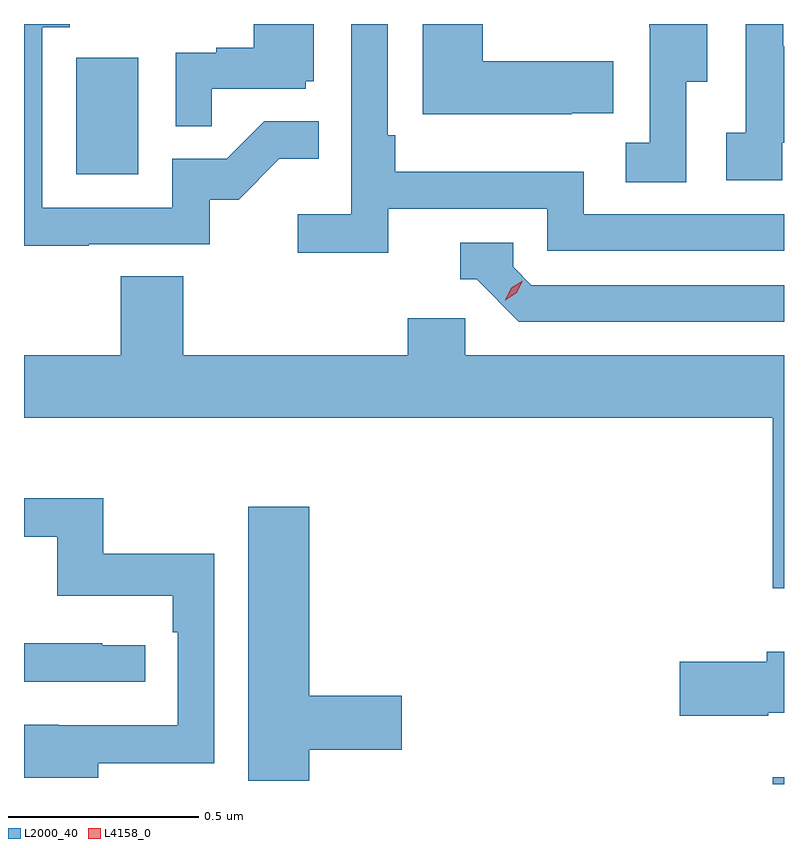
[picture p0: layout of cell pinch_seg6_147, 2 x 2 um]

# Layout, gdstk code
import gdstk
lib = gdstk.Library(unit=1e-6, precision=1e-09)
def R(c, l, rs):  # rectangles x0, y0, x1, y1
    for r in rs: c.add(gdstk.rectangle(r[:2], r[2:], *l))
def P(c, l, *ps):  # polygons
    for p in ps: c.add(gdstk.Polygon(p, *l))
L2000_40 = (2000, 40)
L4158_0 = (4158, 0)

pinch_seg6_147 = lib.new_cell('pinch_seg6_147')
R(pinch_seg6_147, L2000_40, [(976.122,921.064,976.151,921.082), (974.288,922.668,974.452,922.975)])
P(pinch_seg6_147, L2000_40, [(974.645,922.893),(974.892,922.893),(974.892,922.914),(974.914,922.914),(974.914,923.064),(974.756,923.064),(974.756,923.002),(974.657,923.002),(974.657,922.989),(974.55,922.989),(974.55,922.795),(974.645,922.795)],
  [(975.894,922.912),(975.949,922.912),(975.949,923.064),(975.797,923.064),(975.797,923.055),(975.798,923.055),(975.798,922.751),(975.735,922.751),(975.735,922.648),(975.894,922.648)],
  [(975.11,922.578),(975.528,922.578),(975.528,922.467),(976.151,922.467),(976.151,922.563),(975.624,922.563),(975.624,922.675),(975.128,922.675),(975.128,922.771),(975.108,922.771),(975.108,923.064),(975.012,923.064),(975.012,922.564),(974.871,922.564),(974.871,922.462),(975.11,922.462)],
  [(974.321,922.485),(974.64,922.485),(974.64,922.602),(974.716,922.602),(974.823,922.709),(974.927,922.709),(974.927,922.808),(974.783,922.808),(974.685,922.71),(974.541,922.71),(974.541,922.581),(974.199,922.581),(974.199,923.055),(974.272,923.055),(974.272,923.064),(974.151,923.064),(974.151,922.48),(974.321,922.48)],
  [(976.146,922.751),(976.151,922.751),(976.151,923.006),(976.149,923.006),(976.149,923.064),(976.05,923.064),(976.05,922.778),(975.999,922.778),(975.999,922.653),(976.146,922.653)],
  [(975.593,922.829),(975.701,922.829),(975.701,922.966),(975.358,922.966),(975.358,923.064),(975.2,923.064),(975.2,922.826),(975.593,922.826)],
  [(976.151,922.377),(975.486,922.377),(975.438,922.425),(975.438,922.488),(975.299,922.488),(975.299,922.392),(975.342,922.392),(975.453,922.281),(976.151,922.281)],
  [(976.151,922.192),(975.312,922.192),(975.312,922.29),(975.161,922.29),(975.161,922.192),(974.57,922.192),(974.57,922.4),(974.405,922.4),(974.405,922.192),(974.151,922.192),(974.151,922.028),(976.122,922.028),(976.122,921.579),(976.151,921.579)],
  [(974.347,921.118),(974.652,921.118),(974.652,921.67),(974.359,921.67),(974.359,921.816),(974.151,921.816),(974.151,921.715),(974.238,921.715),(974.238,921.56),(974.543,921.56),(974.543,921.464),(974.556,921.464),(974.556,921.219),(974.243,921.219),(974.243,921.22),(974.151,921.22),(974.151,921.08),(974.347,921.08)],
  [(974.902,921.154),(975.145,921.154),(975.145,921.296),(974.902,921.296),(974.902,921.793),(974.741,921.793),(974.741,921.072),(974.902,921.072)],
  [(974.47,921.429),(974.357,921.429),(974.357,921.434),(974.151,921.434),(974.151,921.333),(974.47,921.333)],
  [(976.11,921.251),(976.151,921.251),(976.151,921.412),(976.106,921.412),(976.106,921.386),(975.876,921.386),(975.876,921.244),(976.11,921.244)])
P(pinch_seg6_147, L4158_0, [(975.417,922.337),(975.417,922.338),(975.433,922.37),(975.463,922.389),(975.464,922.389),(975.464,922.389),(975.448,922.357),(975.417,922.337)])

lib.write_gds('pinch_seg6_147.gds')
